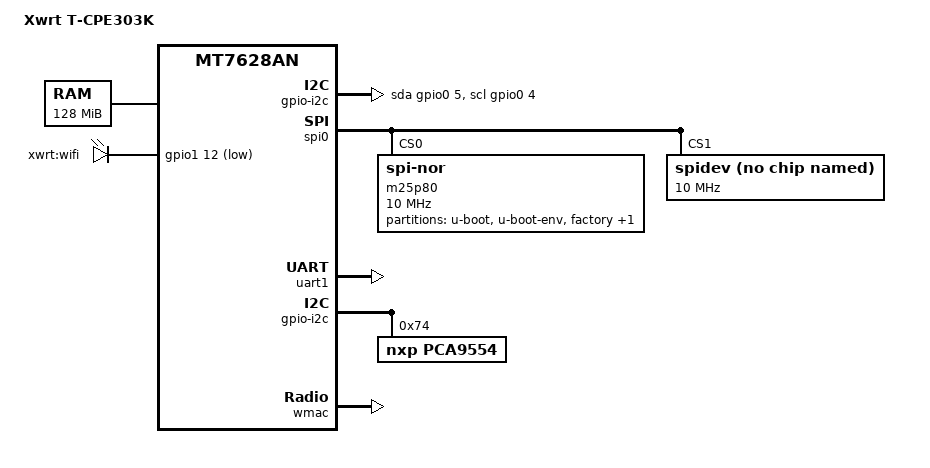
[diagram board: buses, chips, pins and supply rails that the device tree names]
/dts-v1/;

#include "mt7628an.dtsi"
  
#include <dt-bindings/gpio/gpio.h>
#include <dt-bindings/input/input.h>

/ {
	compatible = "mediatek,mt7628an-eval-board", "mediatek,mt7628an-soc";
	model = "Xwrt T-CPE303K";

	chosen {
                bootargs = "console=ttyS0,57600";
        };

	memory@0 {
		device_type = "memory";
		reg = <0x0 0x8000000>;
	};

	gpio-leds {
		compatible = "gpio-leds";

		indicator {
			label = "xwrt:wifi";
			gpios = <&gpio1 12 GPIO_ACTIVE_LOW>;
		};
	}; 

	gpio-i2c {
		compatible = "i2c-gpio";

		gpios = <&gpio0 5 0 /* sda */
			 &gpio0 4 0 /* scl */
			>;

		i2c-gpio,sda-open-drain;
		i2c-gpio,scl-open-drain;
		i2c-gpio,delay-us = <2>;	/* ~100 kHz */

		#address-cells = <1>;
		#size-cells = <0>;
	};
};

&spi0 {
        status = "okay";

        m25p80@0 {
                #address-cells = <1>;
                #size-cells = <1>;
                compatible = "jedec,spi-nor";
                reg = <0>;
                spi-max-frequency = <10000000>;
                m25p,chunked-io = <32>;

                partition@0 {
                        label = "u-boot";
                        reg = <0x0 0x30000>;
                        read-only;
                };

                partition@30000 {
                        label = "u-boot-env";
                        reg = <0x30000 0x10000>;
                        read-only;
                };

                factory: partition@40000 {
                        label = "factory";
                        reg = <0x40000 0x10000>;
                        read-only;
                };

                partition@50000 {
                        label = "firmware";
                        reg = <0x50000 0x1fb0000>;
                };
        };

	spidev@1 {
                #address-cells = <1>;
                #size-cells = <1>;
                compatible = "linux,spidev";
                reg = <1>;
                spi-max-frequency = <10000000>;
        };
};

&uart1 {
        status = "okay";
};

&gpio-i2c {
	status = "okay";

	pca9554: pca9554@3f {
		compatible = "nxp,pca9554";
		reg = <0x74>;
		gpio-controller;
		#gpio-cells = <2>;
	};
};

&ethernet {
        mtd-mac-address = <&factory 0x4>;
        mediatek,portmap = "llllw";
};

&wmac {
        status = "okay";
};

&pinctrl {
	state_default: pinctrl0 {
		gpio {
			ralink,group = "i2c", "i2s", "p0led_an", "p2led_an", "p3led_an", "p4led_an", "wled_an", "gpio", "refclk";
			ralink,function = "gpio";
		};
	};
};
